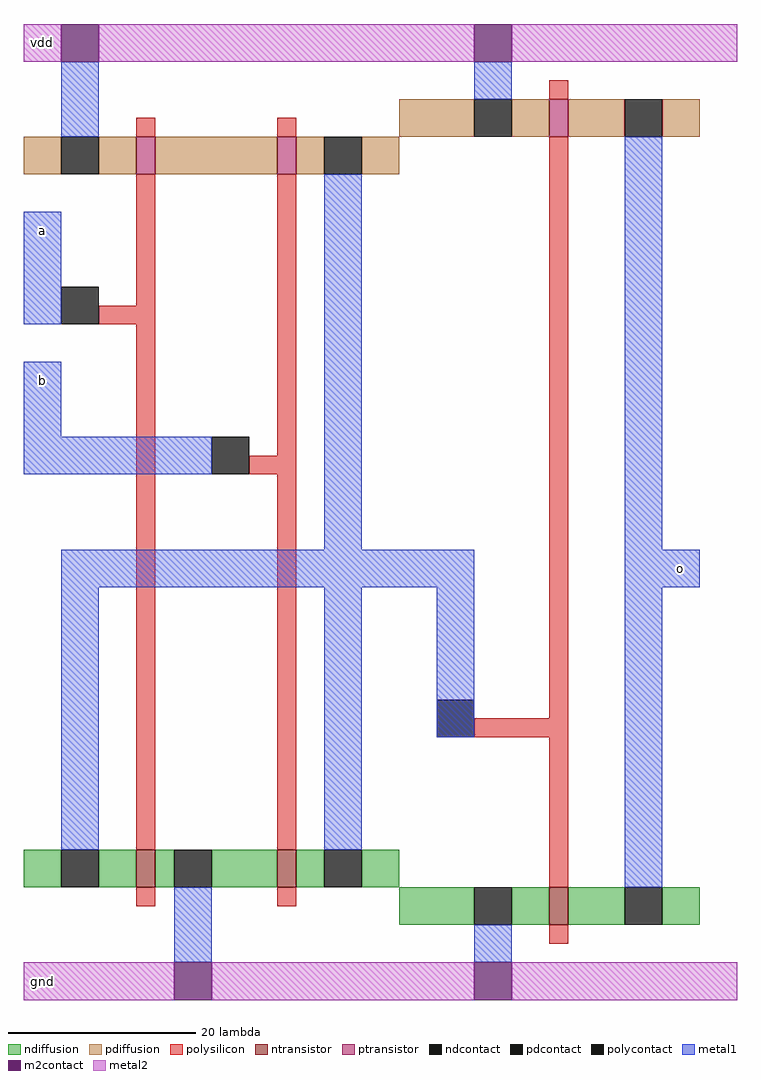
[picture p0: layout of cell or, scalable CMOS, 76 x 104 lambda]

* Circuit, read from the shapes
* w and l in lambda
.subckt or a b gnd o vdd
M1 gnd a not_0/i VSUBS nfet w=4 l=2
M2 not_0/i b gnd VSUBS nfet w=4 l=2
M3 o not_0/i gnd VSUBS nfet w=4 l=2
M4 n1 a vdd NWELL pfet w=4 l=2
M5 not_0/i b n1 NWELL pfet w=4 l=2
M6 o not_0/i vdd NWELL pfet w=4 l=2
.ends

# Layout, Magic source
magic
tech scmos
<< metal1 >>
rect 0 80 4 84
rect 0 64 4 68
rect 40 44 48 48
rect 68 44 72 48
rect 44 28 48 44
<< metal2 >>
rect 0 100 4 104
rect 0 0 4 4
use nor  nor_0
transform 1 0 0 0 1 0
box 0 0 44 104
use not  not_0
transform 1 0 36 0 1 0
box 8 0 40 104
<< labels >>
rlabel metal2 2 102 2 102 4 vdd
rlabel metal1 2 82 2 82 3 a
rlabel metal1 2 66 2 66 3 b
rlabel metal2 2 2 2 2 2 gnd
rlabel metal1 70 46 70 46 1 o
<< end >>

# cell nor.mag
magic
tech scmos
<< polysilicon >>
rect 12 92 14 94
rect 27 92 29 94
rect 12 74 14 88
rect 8 72 14 74
rect 12 16 14 72
rect 27 58 29 88
rect 24 56 29 58
rect 27 16 29 56
rect 12 10 14 12
rect 27 10 29 12
<< ndiffusion >>
rect 0 12 4 16
rect 8 12 12 16
rect 14 12 16 16
rect 20 12 27 16
rect 29 12 32 16
rect 36 12 40 16
<< pdiffusion >>
rect 0 88 4 92
rect 8 88 12 92
rect 14 88 27 92
rect 29 88 32 92
rect 36 88 40 92
<< metal1 >>
rect 4 92 8 100
rect 0 72 4 80
rect 0 60 4 64
rect 0 56 20 60
rect 32 48 36 88
rect 4 44 40 48
rect 4 16 8 44
rect 32 16 36 44
rect 16 4 20 12
<< metal2 >>
rect 8 100 44 104
rect 4 0 16 4
rect 20 0 44 4
<< ntransistor >>
rect 12 12 14 16
rect 27 12 29 16
<< ptransistor >>
rect 12 88 14 92
rect 27 88 29 92
<< polycontact >>
rect 4 72 8 76
rect 20 56 24 60
<< ndcontact >>
rect 4 12 8 16
rect 16 12 20 16
rect 32 12 36 16
<< pdcontact >>
rect 4 88 8 92
rect 32 88 36 92
<< m2contact >>
rect 4 100 8 104
rect 16 0 20 4
<< end >>

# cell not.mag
magic
tech scmos
<< polysilicon >>
rect 20 96 22 98
rect 20 30 22 92
rect 12 28 22 30
rect 20 12 22 28
rect 20 6 22 8
<< ndiffusion >>
rect 4 8 12 12
rect 16 8 20 12
rect 22 8 28 12
rect 32 8 36 12
<< pdiffusion >>
rect 4 92 12 96
rect 16 92 20 96
rect 22 92 28 96
rect 32 92 36 96
<< metal1 >>
rect 12 96 16 100
rect 8 32 12 44
rect 28 12 32 92
rect 12 4 16 8
<< metal2 >>
rect 4 100 12 104
rect 16 100 40 104
rect 4 0 12 4
rect 16 0 40 4
<< ntransistor >>
rect 20 8 22 12
<< ptransistor >>
rect 20 92 22 96
<< polycontact >>
rect 8 28 12 32
<< ndcontact >>
rect 12 8 16 12
rect 28 8 32 12
<< pdcontact >>
rect 12 92 16 96
rect 28 92 32 96
<< m2contact >>
rect 12 100 16 104
rect 12 0 16 4
<< labels >>
rlabel metal2 6 2 6 2 2 gnd
rlabel metal2 6 102 6 102 4 vdd
rlabel polysilicon 21 64 21 64 1 i
rlabel metal1 30 63 30 63 1 o
<< end >>
